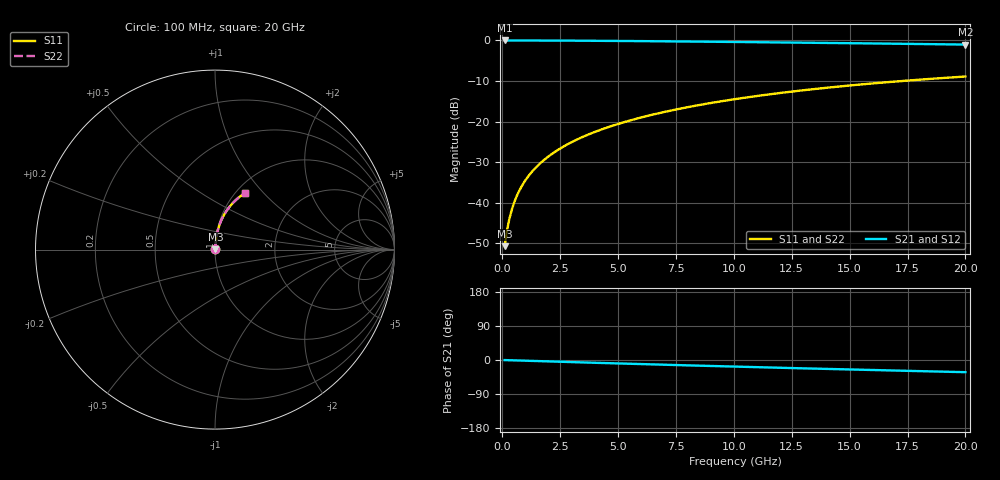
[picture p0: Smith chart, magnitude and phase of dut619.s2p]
! Touchstone file exported from HFSS 2024.1.0
!  File:  C:/UserFiles/LocalFiles/RDL_TSV_Batchsim/temp_RDL_top_619_1779780089.aedt
!  Generated:  03:23:57 PM May 26, 2026
!  Design:  RDL_top
!  Project:  temp_RDL_top_619_1779780089
!  Setup:  Setup1
!  Solution:  Sweep
! Variables:
!  dtsv = 10.80580581um
!  hbump = 3um
!  htsv = 65.13um
!  ldown = 100um
!  lrdl = 406.35um
!  p = 40
!  p1 = 52.5um
!  rhole = 1um
!  t = 450um
!  tdown = 3.915915916um
!  trdl = 4.31um
!  wdown = 15.38538539um
!  wrdl = 16.38um
# GHz S MA R 50.000000
! Terminal data exported
! Port[1] = Box2_T1
! Port[2] = Box2_T2
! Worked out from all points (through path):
!   200 points, 100 MHz to 20 GHz, reference 50 ohm
!   highest |S21| = -0.02 dB at 100 MHz (marker M1); lowest = -1.0 dB at 20 GHz (marker M2)
!   group delay of S21, straight-line fit = 4.44 ps
!   lowest |S11| = -50.7 dB at 100 MHz (marker M3), VSWR 1.01, Z = 50.2 + j0.196 ohm
!   |S11| at or under -10 dB: start of sweep to 17.28 GHz
!   |S22| runs from -50.7 to -8.9 dB; largest |S21 - S12| = 2.6e-15
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0.1  0.002914 41.9  0.9978 -0.2  0.9978 -0.2  0.002914 41.9
! Gamma 0 0 0 0
! Port Impedance 50 0 50 0
0.2  0.004471 60.1  0.9978 -0.4  0.9978 -0.4  0.004471 60.1
0.3  0.006225 68.2  0.9976 -0.6  0.9976 -0.6  0.006225 68.2
0.4  0.008025 72.6  0.9975 -0.8  0.9975 -0.8  0.008025 72.6
0.5  0.009835 75.3  0.9974 -0.9  0.9974 -0.9  0.009835 75.3
0.6  0.01165 77.1  0.9973 -1.1  0.9973 -1.1  0.01165 77.1
0.8  0.01528 79.6  0.9971 -1.5  0.9971 -1.5  0.01528 79.6
1.1  0.02074 81.6  0.9967 -2.1  0.9967 -2.1  0.02074 81.6
1.5  0.02807 82.9  0.9961 -2.8  0.9961 -2.8  0.02807 82.9
1.8  0.03359 83.5  0.9955 -3.4  0.9955 -3.4  0.03359 83.5
2.1  0.03912 83.8  0.9948 -3.9  0.9948 -3.9  0.03912 83.8
2.7  0.05024 84.0  0.9932 -5.0  0.9932 -5.0  0.05024 84.0
3.5  0.06516 83.7  0.9905 -6.4  0.9905 -6.4  0.06516 83.7
4.2  0.07828 83.3  0.9878 -7.7  0.9878 -7.7  0.07828 83.3
5  0.09336 82.6  0.9842 -9.1  0.9842 -9.1  0.09336 82.6
5.9  0.1104 81.7  0.9799 -10.6  0.9799 -10.6  0.1104 81.7
6.8  0.1275 80.6  0.9751 -12.2  0.9751 -12.2  0.1275 80.6
8.4  0.1578 78.6  0.9661 -14.8  0.9661 -14.8  0.1578 78.6
10.1  0.1898 76.2  0.9559 -17.5  0.9559 -17.5  0.1898 76.2
13.4  0.2501 71.4  0.9345 -22.6  0.9345 -22.6  0.2501 71.4
16.7  0.3067 66.6  0.9118 -27.5  0.9118 -27.5  0.3067 66.6
20  0.3588 61.8  0.8881 -32.1  0.8881 -32.1  0.3588 61.8
